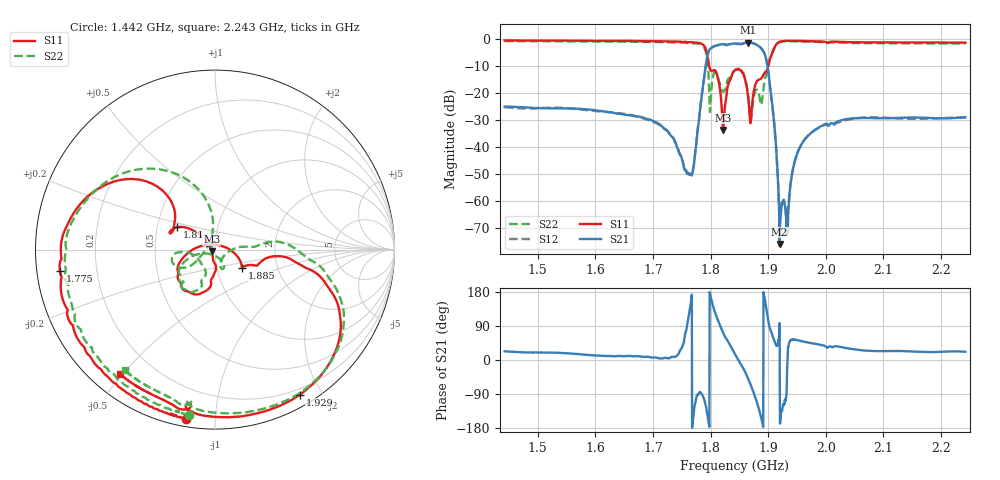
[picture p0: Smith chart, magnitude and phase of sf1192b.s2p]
# Hz S RI R 50
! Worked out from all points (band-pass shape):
!   1601 points, 1.442 GHz to 2.243 GHz, reference 50 ohm
!   highest |S21| = -1.19 dB at 1.865 GHz (marker M1); lowest = -75.9 dB at 1.92 GHz (marker M2)
!   |S21| within 3 dB of the highest: 1.797 GHz to 1.891 GHz (94.1 MHz wide, 5.1 % of centre)
!   lowest |S11| = -33.6 dB at 1.822 GHz (marker M3), VSWR 1.04, Z = 48.2 - j0.926 ohm
!   |S11| at or under -10 dB: 1.798 GHz to 1.9 GHz (102.4 MHz wide, 5.54 % of centre)
!   |S22| runs from -29.9 to -0.6 dB; largest |S21 - S12| = 0.018
!   S11 on the Smith chart (normalised r, x): 1.442 GHz: 0.04, -0.84; 1.775 GHz: 0.07, -0.07; 1.81 GHz: 0.63, +0.17; 1.885 GHz: 1.32, -0.27; 1.929 GHz: 0.13, -1.74; 2.243 GHz: 0.09, -0.49
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1.4425e9  -0.1607 -0.9431  0.0521 0.022  0.0514 0.02  -0.1456 -0.92
1.576e9  -0.3617 -0.874  0.0497 0.0131  0.0483 0.0122  -0.3401 -0.8532
1.7095e9  -0.6525 -0.6545  0.0275 0.00236  0.0264 0.00305  -0.6252 -0.6413
1.7625e9  -0.832 -0.3177  -0.00153 0.00269  -0.00161 0.0028  -0.7991 -0.3022
1.775e9  -0.8644 -0.119  -0.00224 -0.0105  -0.00265 -0.0106  -0.8323 -0.1019
1.7935e9  -0.4207 0.3896  -0.3059 -0.3139  -0.2931 -0.3038  -0.2159 0.4218
1.8e9  -0.2262 0.1446  -0.6604 0.1367  -0.6569 0.1244  -0.0631 -0.0164
1.81e9  -0.2114 0.1249  -0.3353 0.687  -0.3418 0.6861  -0.2335 -0.0315
1.822e9  -0.0184 -0.00961  0.2594 0.7734  0.265 0.7767  -0.0865 -0.0619
1.8425e9  -0.1028 -0.2499  0.8066 0.2241  0.7973 0.2174  -0.1302 -0.2374
1.865e9  -0.0885 0.0164  0.581 -0.6506  0.5872 -0.6526  -0.0957 -0.0261
1.8705e9  0.0288 0.0229  0.3162 -0.8044  0.3158 -0.8112  -0.00281 -0.0333
1.8845e9  0.1495 -0.0998  -0.4964 -0.55  -0.5018 -0.5433  0.0294 -0.0862
1.9015e9  0.3619 -0.0365  -0.012 0.1996  -0.00998 0.1968  0.3696 0.0403
1.911e9  0.6603 -0.253  0.0161 0.0187  0.0158 0.0183  0.6664 -0.2031
1.92e9  0.6364 -0.6358  -2.13e-05 0.000159  -2.9e-05 0.000142  0.6595 -0.6
1.9285e9  0.4739 -0.8073  -0.000392 -0.000787  -0.000358 -0.000767  0.4904 -0.7856
1.934e9  0.3792 -0.8618  0.000317 5.96e-05  0.000289 8.82e-05  0.3905 -0.8439
1.9505e9  0.1694 -0.9252  0.00464 0.00597  0.00471 0.00598  0.1746 -0.9061
1.976e9  -0.032 -0.9284  0.0135 0.0131  0.0139 0.0128  -0.0261 -0.9057
2.1095e9  -0.3768 -0.7943  0.0315 0.0138  0.0326 0.0125  -0.3592 -0.769
2.2425e9  -0.5296 -0.6926  0.0332 0.0132  0.0333 0.0124  -0.5041 -0.6716
